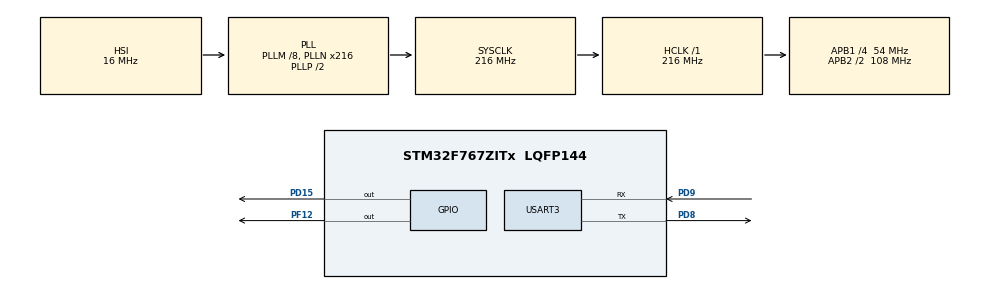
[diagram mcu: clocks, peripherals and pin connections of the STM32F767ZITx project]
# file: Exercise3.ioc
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Mcu.Family=STM32F7
Mcu.Name=STM32F767ZITx
Mcu.Package=LQFP144
NVIC.PriorityGroup=NVIC_PRIORITYGROUP_4
PD15.Signal=GPIO_Output
PD8.Mode=Asynchronous
PD8.Signal=USART3_TX
PD9.Mode=Asynchronous
PD9.Signal=USART3_RX
PF12.Signal=GPIO_Output
ProjectManager.HeapSize=0x200
ProjectManager.StackSize=0x400
ProjectManager.TargetToolchain=STM32CubeIDE
RCC.AHBFreq_Value=216000000
RCC.APB1CLKDivider=RCC_HCLK_DIV4
RCC.APB1Freq_Value=54000000
RCC.APB1TimFreq_Value=108000000
RCC.APB2CLKDivider=RCC_HCLK_DIV2
RCC.APB2Freq_Value=108000000
RCC.APB2TimFreq_Value=216000000
RCC.CortexFreq_Value=216000000
RCC.HCLKFreq_Value=216000000
RCC.HSE_VALUE=25000000
RCC.HSI_VALUE=16000000
RCC.LSE_VALUE=32768
RCC.PLLM=8
RCC.PLLN=216
RCC.SYSCLKFreq_VALUE=216000000
RCC.SYSCLKSource=RCC_SYSCLKSOURCE_PLLCLK
RCC.USBFreq_Value=216000000
RCC.VCOOutputFreq_Value=432000000
USART3.VirtualMode-Asynchronous=VM_ASYNC
board=custom

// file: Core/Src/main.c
/* USER CODE BEGIN Header */
/**
  ******************************************************************************
  * @file           : main.c
  * @brief          : Main program body
  ******************************************************************************
  * @attention
  *
  * Copyright (c) 2023 STMicroelectronics.
  * All rights reserved.
  *
  * This software is licensed under terms that can be found in the LICENSE file
  * in the root directory of this software component.
  * If no LICENSE file comes with this software, it is provided AS-IS.
  *
  ******************************************************************************
  */
/* USER CODE END Header */
#include "main.h"
#include "usart.h"
#include "gpio.h"

void SystemClock_Config(void);
static void MPU_Initialize(void);
static void MPU_Config(void);

int main(void)
{

  /* MCU Configuration--------------------------------------------------------*/

  /* Reset of all peripherals, Initializes the Flash interface and the Systick. */
  HAL_Init();

  /* MPU Configuration--------------------------------------------------------*/
  MPU_Config();

  /* Configure the system clock */
  SystemClock_Config();

  /* Initialize all configured peripherals */
  MX_GPIO_Init();
  MX_USART3_UART_Init();

  /* Infinite loop */
  /* USER CODE BEGIN WHILE */
  char intro[] = "Display Blinking LED PRESS (1, 2) \n\r Display Group Members PRESS m \n\r Quit PRESS q\n\r";
  char inputText[] = "\t input=>";
  char quite[] = "quite";
  char ch1;
  char output[50];
  char detailText[] = "64010233 \n\r Natdanai poonpon \n\r";

  const uint16_t LEDPINs[] = {GPIO_PIN_12,GPIO_PIN_15};
  const GPIO_TypeDef* LED_PORTs[] = {GPIOF,GPIOD};

  HAL_UART_Transmit(&huart3, (uint8_t*) intro, strlen(intro),1000);
  while (1)
  {
    /* USER CODE END WHILE */

    /* USER CODE BEGIN 3 */
	  HAL_UART_Transmit(&huart3, (uint8_t*) inputText, strlen(inputText),1000);
	  while(__HAL_UART_GET_FLAG(&huart3,UART_FLAG_RXNE)== RESET){}
	  HAL_UART_Receive(&huart3, (uint8_t*) &ch1, 1, 1000);
	  sprintf(output,"%c \n \r",ch1);
	  HAL_UART_Transmit(&huart3, (uint8_t*) output, strlen(output),1000);
	  if(ch1 == '1')
	  {
		  for(int i=0 ; i < 3 ;i++)
		  {
			  HAL_GPIO_WritePin(LED_PORTs[0], LEDPINs[0], SET);
			  HAL_Delay(300);
			  HAL_GPIO_WritePin(LED_PORTs[0], LEDPINs[0], RESET);
			  			  HAL_Delay(300);
		  }
	  }
	  else if (ch1 == '2')
	  {
		  for(int i=0 ; i < 3 ;i++)
		  {
			  HAL_GPIO_WritePin(LED_PORTs[1], LEDPINs[1], SET);
			  HAL_Delay(300);
			  HAL_GPIO_WritePin(LED_PORTs[1], LEDPINs[1], RESET);
			  HAL_Delay(300);
		  }
	  }
	  else if(ch1 == 'm')
	  {
		  HAL_UART_Transmit(&huart3, (uint8_t*) detailText, strlen(detailText),1000);
	  }
	  else if(ch1 == 'q')
	  {
		  HAL_UART_Transmit(&huart3, (uint8_t*) quite, strlen(quite),1000);
		  return;
	  }
	  else
	  {
		  HAL_UART_Transmit(&huart3, (uint8_t*) "unknown command\n\r", strlen("unknown command\n\r"),1000);
	  }
	  HAL_Delay(500);

  }
  /* USER CODE END 3 */
}

void SystemClock_Config(void)
{
  RCC_OscInitTypeDef RCC_OscInitStruct = {0};
  RCC_ClkInitTypeDef RCC_ClkInitStruct = {0};

  /** Configure the main internal regulator output voltage
  */
  __HAL_RCC_PWR_CLK_ENABLE();
  __HAL_PWR_VOLTAGESCALING_CONFIG(PWR_REGULATOR_VOLTAGE_SCALE1);

  /** Initializes the RCC Oscillators according to the specified parameters
  * in the RCC_OscInitTypeDef structure.
  */
  RCC_OscInitStruct.OscillatorType = RCC_OSCILLATORTYPE_HSI;
  RCC_OscInitStruct.HSIState = RCC_HSI_ON;
  RCC_OscInitStruct.HSICalibrationValue = RCC_HSICALIBRATION_DEFAULT;
  RCC_OscInitStruct.PLL.PLLState = RCC_PLL_ON;
  RCC_OscInitStruct.PLL.PLLSource = RCC_PLLSOURCE_HSI;
  RCC_OscInitStruct.PLL.PLLM = 8;
  RCC_OscInitStruct.PLL.PLLN = 216;
  RCC_OscInitStruct.PLL.PLLP = RCC_PLLP_DIV2;
  RCC_OscInitStruct.PLL.PLLQ = 2;
  RCC_OscInitStruct.PLL.PLLR = 2;
  if (HAL_RCC_OscConfig(&RCC_OscInitStruct) != HAL_OK)
  {
    Error_Handler();
  }

  /** Activate the Over-Drive mode
  */
  if (HAL_PWREx_EnableOverDrive() != HAL_OK)
  {
    Error_Handler();
  }

  /** Initializes the CPU, AHB and APB buses clocks
  */
  RCC_ClkInitStruct.ClockType = RCC_CLOCKTYPE_HCLK|RCC_CLOCKTYPE_SYSCLK
                              |RCC_CLOCKTYPE_PCLK1|RCC_CLOCKTYPE_PCLK2;
  RCC_ClkInitStruct.SYSCLKSource = RCC_SYSCLKSOURCE_PLLCLK;
  RCC_ClkInitStruct.AHBCLKDivider = RCC_SYSCLK_DIV1;
  RCC_ClkInitStruct.APB1CLKDivider = RCC_HCLK_DIV4;
  RCC_ClkInitStruct.APB2CLKDivider = RCC_HCLK_DIV2;

  if (HAL_RCC_ClockConfig(&RCC_ClkInitStruct, FLASH_LATENCY_7) != HAL_OK)
  {
    Error_Handler();
  }
}

/* MPU Configuration */

void MPU_Config(void)
{
  MPU_Region_InitTypeDef MPU_InitStruct = {0};

  /* Disables the MPU */
  HAL_MPU_Disable();

  /** Initializes and configures the Region and the memory to be protected
  */
  MPU_InitStruct.Enable = MPU_REGION_ENABLE;
  MPU_InitStruct.Number = MPU_REGION_NUMBER0;
  MPU_InitStruct.BaseAddress = 0x0;
  MPU_InitStruct.Size = MPU_REGION_SIZE_4GB;
  MPU_InitStruct.SubRegionDisable = 0x87;
  MPU_InitStruct.TypeExtField = MPU_TEX_LEVEL0;
  MPU_InitStruct.AccessPermission = MPU_REGION_NO_ACCESS;
  MPU_InitStruct.DisableExec = MPU_INSTRUCTION_ACCESS_DISABLE;
  MPU_InitStruct.IsShareable = MPU_ACCESS_SHAREABLE;
  MPU_InitStruct.IsCacheable = MPU_ACCESS_NOT_CACHEABLE;
  MPU_InitStruct.IsBufferable = MPU_ACCESS_NOT_BUFFERABLE;

  HAL_MPU_ConfigRegion(&MPU_InitStruct);
  /* Enables the MPU */
  HAL_MPU_Enable(MPU_PRIVILEGED_DEFAULT);

}

void Error_Handler(void)
{
  __disable_irq();
  while (1)
  {
  }
}
